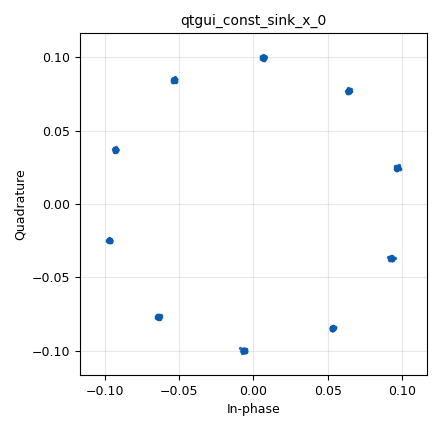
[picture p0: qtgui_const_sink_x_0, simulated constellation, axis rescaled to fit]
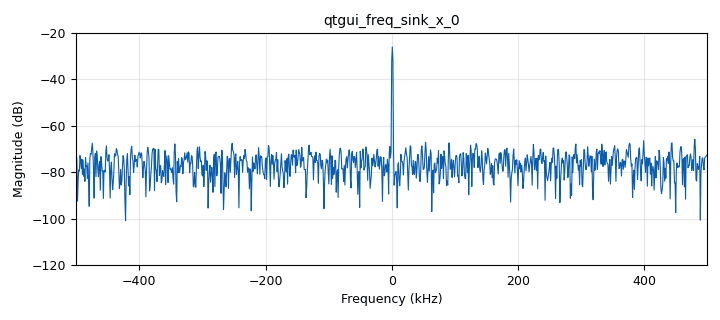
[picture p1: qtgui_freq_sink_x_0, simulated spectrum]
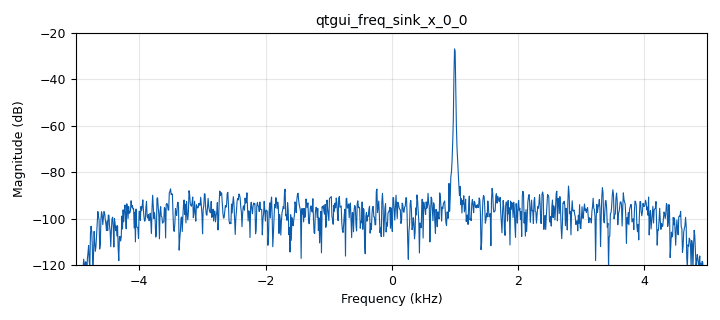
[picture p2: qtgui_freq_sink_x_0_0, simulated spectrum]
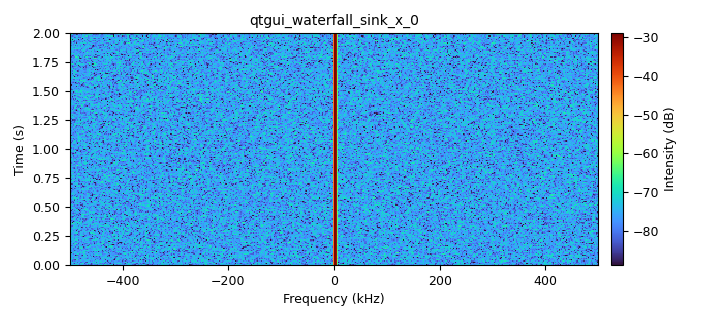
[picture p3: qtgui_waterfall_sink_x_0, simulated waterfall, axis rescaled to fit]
<?xml version='1.0' encoding='utf-8'?>
<?grc format='1' created='3.7.13'?>
<flow_graph>
<block>
<key>options</key>
<param><key>id</key><value>rx_narrow_host</value></param>
<param><key>author</key><value>Spiro Sarris</value></param>
<param><key>description</key><value>Observe wide spectrum. Select frequency. Record narrow channel</value></param>
<param><key>generate_options</key><value>qt_gui</value></param>
<param><key>title</key><value>RX Narrowband Receiver</value></param>
</block>
<block>
<key>variable_qtgui_check_box</key>
<param><key>id</key><value>checkbox_record</value></param>
<param><key>value</key><value>False</value></param>
<param><key>false</key><value>False</value></param>
<param><key>gui_hint</key><value>tabs@0:4,0,1,1</value></param>
<param><key>label</key><value>Write Data</value></param>
<param><key>true</key><value>True</value></param>
<param><key>type</key><value>real</value></param>
</block>
<block>
<key>variable</key>
<param><key>id</key><value>client_address</value></param>
<param><key>value</key><value>"192.168.10.184"</value></param>
</block>
<block>
<key>variable</key>
<param><key>id</key><value>data_seconds</value></param>
<param><key>value</key><value>300</value></param>
</block>
<block>
<key>variable</key>
<param><key>id</key><value>fft_size</value></param>
<param><key>value</key><value>1024</value></param>
</block>
<block>
<key>variable</key>
<param><key>id</key><value>filename</value></param>
<param><key>value</key><value>"./data/"+datetime.datetime.utcnow().strftime("%Y%m%d_%H%M%S")+"_UTC.iq"</value></param>
</block>
<block>
<key>variable_qtgui_range</key>
<param><key>id</key><value>freq</value></param>
<param><key>value</key><value>400e6</value></param>
<param><key>gui_hint</key><value>tabs@0:0,0,1,1</value></param>
<param><key>label</key><value>RF Freq (Hz)</value></param>
<param><key>min_len</key><value>100</value></param>
<param><key>orient</key><value>Qt.Vertical</value></param>
<param><key>start</key><value>100e6</value></param>
<param><key>step</key><value>1e6</value></param>
<param><key>stop</key><value>6000e6</value></param>
</block>
<block>
<key>variable_qtgui_range</key>
<param><key>id</key><value>freq_select</value></param>
<param><key>value</key><value>0</value></param>
<param><key>gui_hint</key><value>tabs@0:2,0,1,1</value></param>
<param><key>label</key><value>Narrowband Select (Hz)</value></param>
<param><key>min_len</key><value>100</value></param>
<param><key>orient</key><value>Qt.Vertical</value></param>
<param><key>start</key><value>-1*(samp_rate/2)</value></param>
<param><key>step</key><value>1</value></param>
<param><key>stop</key><value>1*(samp_rate/2)</value></param>
</block>
<block>
<key>variable</key>
<param><key>id</key><value>n_channels</value></param>
<param><key>value</key><value>100</value></param>
</block>
<block>
<key>variable_qtgui_range</key>
<param><key>id</key><value>rx_gain</value></param>
<param><key>value</key><value>50</value></param>
<param><key>gui_hint</key><value>tabs@0:1,0,1,1</value></param>
<param><key>label</key><value>RX Gain</value></param>
<param><key>min_len</key><value>100</value></param>
<param><key>orient</key><value>Qt.Vertical</value></param>
<param><key>start</key><value>0</value></param>
<param><key>step</key><value>1</value></param>
<param><key>stop</key><value>80</value></param>
</block>
<block>
<key>variable</key>
<param><key>id</key><value>samp_rate</value></param>
<param><key>value</key><value>1e6</value></param>
</block>
<block>
<key>variable</key>
<param><key>id</key><value>sim_amplitude</value></param>
<param><key>value</key><value>1e-1</value></param>
</block>
<block>
<key>variable_qtgui_label</key>
<param><key>id</key><value>variable_qtgui_label_0</value></param>
<param><key>value</key><value>checkbox_record</value></param>
<param><key>gui_hint</key><value>tabs@0:4,1,1,1</value></param>
<param><key>label</key><value>Recording?</value></param>
<param><key>type</key><value>real</value></param>
</block>
<block>
<key>variable_qtgui_label</key>
<param><key>id</key><value>variable_qtgui_label_1</value></param>
<param><key>value</key><value>filename</value></param>
<param><key>gui_hint</key><value>tabs@0:3,0,1,1</value></param>
<param><key>label</key><value>Recording File Name</value></param>
<param><key>type</key><value>string</value></param>
</block>
<block>
<key>variable</key>
<param><key>id</key><value>vec_length</value></param>
<param><key>value</key><value>1</value></param>
</block>
<block>
<key>analog_const_source_x</key>
<param><key>id</key><value>analog_const_source_x_0</value></param>
<param><key>const</key><value>checkbox_record</value></param>
<param><key>type</key><value>float</value></param>
</block>
<block>
<key>analog_noise_source_x</key>
<param><key>id</key><value>analog_noise_source_x_0</value></param>
<param><key>amp</key><value>sim_amplitude*1e-1</value></param>
<param><key>noise_type</key><value>analog.GR_GAUSSIAN</value></param>
<param><key>type</key><value>complex</value></param>
<param><key>seed</key><value>0</value></param>
</block>
<block>
<key>analog_sig_source_x</key>
<param><key>id</key><value>analog_sig_source_x_0</value></param>
<param><key>amp</key><value>1</value></param>
<param><key>freq</key><value>-1*freq_select</value></param>
<param><key>offset</key><value>0</value></param>
<param><key>type</key><value>complex</value></param>
<param><key>samp_rate</key><value>samp_rate</value></param>
<param><key>waveform</key><value>analog.GR_COS_WAVE</value></param>
</block>
<block>
<key>analog_sig_source_x</key>
<param><key>id</key><value>analog_sig_source_x_1</value></param>
<param><key>amp</key><value>sim_amplitude</value></param>
<param><key>freq</key><value>1000</value></param>
<param><key>offset</key><value>0</value></param>
<param><key>type</key><value>complex</value></param>
<param><key>samp_rate</key><value>samp_rate</value></param>
<param><key>waveform</key><value>analog.GR_COS_WAVE</value></param>
</block>
<block>
<key>blocks_add_xx</key>
<param><key>id</key><value>blocks_add_xx_0</value></param>
<param><key>type</key><value>complex</value></param>
</block>
<block>
<key>blocks_burst_tagger</key>
<param><key>id</key><value>blocks_burst_tagger_0</value></param>
<param><key>false_key</key><value>burst</value></param>
<param><key>false_value</key><value>False</value></param>
<param><key>type</key><value>complex</value></param>
<param><key>true_key</key><value>burst</value></param>
<param><key>true_value</key><value>True</value></param>
</block>
<block>
<key>blocks_file_sink</key>
<param><key>id</key><value>blocks_file_sink_0</value></param>
<param><key>_enabled</key><value>0</value></param>
<param><key>file</key><value>filename</value></param>
<param><key>type</key><value>complex</value></param>
</block>
<block>
<key>blocks_float_to_short</key>
<param><key>id</key><value>blocks_float_to_short_0</value></param>
<param><key>scale</key><value>1</value></param>
</block>
<block>
<key>blocks_head</key>
<param><key>id</key><value>blocks_head_0</value></param>
<param><key>_enabled</key><value>0</value></param>
<param><key>num_items</key><value>int(data_seconds*samp_rate/n_channels)</value></param>
<param><key>type</key><value>complex</value></param>
</block>
<block>
<key>blocks_multiply_xx</key>
<param><key>id</key><value>blocks_multiply_xx_0</value></param>
<param><key>type</key><value>complex</value></param>
</block>
<block>
<key>blocks_null_sink</key>
<param><key>id</key><value>blocks_null_sink_0</value></param>
<param><key>bus_conns</key><value>[[0,],]</value></param>
<param><key>_enabled</key><value>0</value></param>
<param><key>type</key><value>complex</value></param>
</block>
<block>
<key>blocks_tagged_file_sink</key>
<param><key>id</key><value>blocks_tagged_file_sink_0</value></param>
<param><key>type</key><value>complex</value></param>
<param><key>samp_rate</key><value>int(samp_rate)</value></param>
</block>
<block>
<key>blocks_throttle</key>
<param><key>id</key><value>blocks_throttle_0</value></param>
<param><key>samples_per_second</key><value>samp_rate</value></param>
<param><key>type</key><value>complex</value></param>
</block>
<block>
<key>import</key>
<param><key>id</key><value>import_0</value></param>
<param><key>import</key><value>import numpy as np</value></param>
</block>
<block>
<key>import</key>
<param><key>id</key><value>import_1</value></param>
<param><key>import</key><value>import ettus</value></param>
</block>
<block>
<key>import</key>
<param><key>id</key><value>import_2</value></param>
<param><key>import</key><value>import time</value></param>
</block>
<block>
<key>import</key>
<param><key>id</key><value>import_3</value></param>
<param><key>import</key><value>import datetime</value></param>
</block>
<block>
<key>qtgui_const_sink_x</key>
<param><key>id</key><value>qtgui_const_sink_x_0</value></param>
<param><key>gui_hint</key><value>tabs@0:2,2,2,1</value></param>
<param><key>grid</key><value>True</value></param>
<param><key>size</key><value>fft_size</value></param>
<param><key>type</key><value>complex</value></param>
<param><key>xmax</key><value>0.1</value></param>
<param><key>xmin</key><value>-0.1</value></param>
<param><key>ymax</key><value>0.1</value></param>
<param><key>ymin</key><value>-0.1</value></param>
</block>
<block>
<key>qtgui_freq_sink_x</key>
<param><key>id</key><value>qtgui_freq_sink_x_0</value></param>
<param><key>bw</key><value>samp_rate</value></param>
<param><key>fc</key><value>0</value></param>
<param><key>fftsize</key><value>fft_size</value></param>
<param><key>gui_hint</key><value>tabs@0:0,1,2,1</value></param>
<param><key>grid</key><value>True</value></param>
<param><key>legend</key><value>False</value></param>
<param><key>showports</key><value>True</value></param>
<param><key>type</key><value>complex</value></param>
<param><key>update_time</key><value>0.1</value></param>
<param><key>wintype</key><value>firdes.WIN_HANN</value></param>
<param><key>label</key><value>Magnitude</value></param>
<param><key>ymax</key><value>-20</value></param>
<param><key>ymin</key><value>-120</value></param>
</block>
<block>
<key>qtgui_freq_sink_x</key>
<param><key>id</key><value>qtgui_freq_sink_x_0_0</value></param>
<param><key>bw</key><value>samp_rate/n_channels</value></param>
<param><key>fc</key><value>0</value></param>
<param><key>fftsize</key><value>fft_size</value></param>
<param><key>gui_hint</key><value>tabs@0:0,2,2,1</value></param>
<param><key>grid</key><value>True</value></param>
<param><key>legend</key><value>False</value></param>
<param><key>showports</key><value>True</value></param>
<param><key>type</key><value>complex</value></param>
<param><key>update_time</key><value>0.1</value></param>
<param><key>wintype</key><value>firdes.WIN_HANN</value></param>
<param><key>label</key><value>Magnitude</value></param>
<param><key>ymax</key><value>-20</value></param>
<param><key>ymin</key><value>-120</value></param>
</block>
<block>
<key>qtgui_waterfall_sink_x</key>
<param><key>id</key><value>qtgui_waterfall_sink_x_0</value></param>
<param><key>bw</key><value>samp_rate</value></param>
<param><key>fc</key><value>0</value></param>
<param><key>fftsize</key><value>fft_size</value></param>
<param><key>gui_hint</key><value>tabs@0:2,1,2,1</value></param>
<param><key>int_max</key><value>-40</value></param>
<param><key>int_min</key><value>-100</value></param>
<param><key>color1</key><value>3</value></param>
<param><key>showports</key><value>True</value></param>
<param><key>type</key><value>complex</value></param>
<param><key>wintype</key><value>firdes.WIN_BLACKMAN_hARRIS</value></param>
</block>
<block>
<key>rational_resampler_xxx</key>
<param><key>id</key><value>rational_resampler_xxx_0</value></param>
<param><key>decim</key><value>n_channels</value></param>
<param><key>interp</key><value>1</value></param>
<param><key>taps</key><value></value></param>
<param><key>type</key><value>ccc</value></param>
</block>
<block>
<key>qtgui_tab_widget</key>
<param><key>id</key><value>tabs</value></param>
<param><key>gui_hint</key><value>0,0,1,2</value></param>
<param><key>label0</key><value>Real-Time Display</value></param>
<param><key>num_tabs</key><value>1</value></param>
</block>
<block>
<key>xmlrpc_client</key>
<param><key>id</key><value>xmlrpc_client0</value></param>
<param><key>addr</key><value>str(client_address)</value></param>
<param><key>callback</key><value>set_rx_gain</value></param>
<param><key>port</key><value>30000</value></param>
<param><key>variable</key><value>rx_gain</value></param>
</block>
<block>
<key>xmlrpc_client</key>
<param><key>id</key><value>xmlrpc_client0_0</value></param>
<param><key>addr</key><value>str(client_address)</value></param>
<param><key>callback</key><value>set_freq</value></param>
<param><key>port</key><value>30000</value></param>
<param><key>variable</key><value>freq</value></param>
</block>
<block>
<key>zeromq_pull_source</key>
<param><key>id</key><value>zeromq_pull_source_1</value></param>
<param><key>address</key><value>tcp://192.168.10.184:9998</value></param>
<param><key>_enabled</key><value>0</value></param>
<param><key>type</key><value>complex</value></param>
<param><key>timeout</key><value>100</value></param>
<param><key>vlen</key><value>vec_length</value></param>
</block>
<connection><source_block_id>analog_const_source_x_0</source_block_id><sink_block_id>blocks_float_to_short_0</sink_block_id><source_key>0</source_key><sink_key>0</sink_key></connection>
<connection><source_block_id>analog_noise_source_x_0</source_block_id><sink_block_id>blocks_add_xx_0</sink_block_id><source_key>0</source_key><sink_key>1</sink_key></connection>
<connection><source_block_id>analog_sig_source_x_0</source_block_id><sink_block_id>blocks_multiply_xx_0</sink_block_id><source_key>0</source_key><sink_key>1</sink_key></connection>
<connection><source_block_id>analog_sig_source_x_1</source_block_id><sink_block_id>blocks_add_xx_0</sink_block_id><source_key>0</source_key><sink_key>0</sink_key></connection>
<connection><source_block_id>blocks_add_xx_0</source_block_id><sink_block_id>blocks_throttle_0</sink_block_id><source_key>0</source_key><sink_key>0</sink_key></connection>
<connection><source_block_id>blocks_burst_tagger_0</source_block_id><sink_block_id>blocks_tagged_file_sink_0</sink_block_id><source_key>0</source_key><sink_key>0</sink_key></connection>
<connection><source_block_id>blocks_float_to_short_0</source_block_id><sink_block_id>blocks_burst_tagger_0</sink_block_id><source_key>0</source_key><sink_key>1</sink_key></connection>
<connection><source_block_id>blocks_head_0</source_block_id><sink_block_id>blocks_file_sink_0</sink_block_id><source_key>0</source_key><sink_key>0</sink_key></connection>
<connection><source_block_id>blocks_head_0</source_block_id><sink_block_id>blocks_null_sink_0</sink_block_id><source_key>0</source_key><sink_key>0</sink_key></connection>
<connection><source_block_id>blocks_multiply_xx_0</source_block_id><sink_block_id>rational_resampler_xxx_0</sink_block_id><source_key>0</source_key><sink_key>0</sink_key></connection>
<connection><source_block_id>blocks_throttle_0</source_block_id><sink_block_id>blocks_multiply_xx_0</sink_block_id><source_key>0</source_key><sink_key>0</sink_key></connection>
<connection><source_block_id>blocks_throttle_0</source_block_id><sink_block_id>qtgui_freq_sink_x_0</sink_block_id><source_key>0</source_key><sink_key>0</sink_key></connection>
<connection><source_block_id>blocks_throttle_0</source_block_id><sink_block_id>qtgui_waterfall_sink_x_0</sink_block_id><source_key>0</source_key><sink_key>0</sink_key></connection>
<connection><source_block_id>rational_resampler_xxx_0</source_block_id><sink_block_id>blocks_burst_tagger_0</sink_block_id><source_key>0</source_key><sink_key>0</sink_key></connection>
<connection><source_block_id>rational_resampler_xxx_0</source_block_id><sink_block_id>qtgui_const_sink_x_0</sink_block_id><source_key>0</source_key><sink_key>0</sink_key></connection>
<connection><source_block_id>rational_resampler_xxx_0</source_block_id><sink_block_id>qtgui_freq_sink_x_0_0</sink_block_id><source_key>0</source_key><sink_key>0</sink_key></connection>
<connection><source_block_id>zeromq_pull_source_1</source_block_id><sink_block_id>blocks_throttle_0</sink_block_id><source_key>0</source_key><sink_key>0</sink_key></connection>
</flow_graph>
